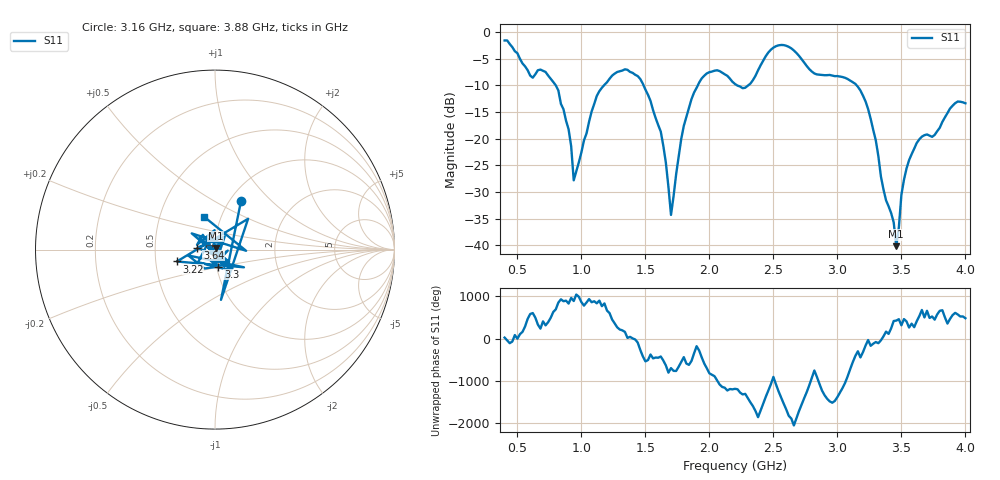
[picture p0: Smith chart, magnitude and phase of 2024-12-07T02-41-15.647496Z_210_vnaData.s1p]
!Created with skrf (http://scikit-rf.org).
# Hz S RI R 50.0
!freq ReS11 ImS11
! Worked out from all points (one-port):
!   181 points, 400 MHz to 4 GHz, reference 50 ohm
!   lowest |S11| = -40.2 dB at 3.46 GHz (marker M1), VSWR 1.02, Z = 50.4 + j0.913 ohm
!   |S11| at or under -10 dB: 798.9 MHz to 1.178 GHz (378.6 MHz wide, 38.3 % of centre); 1.485 GHz to 1.91 GHz (424.7 MHz wide, 25 % of centre); 3.149 GHz to end of sweep (the widest 3 of 4)
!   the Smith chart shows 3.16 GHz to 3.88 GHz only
!   S11 on the Smith chart (normalised r, x): 3.16 GHz: 1.13, +0.67; 3.22 GHz: 0.64, -0.09; 3.3 GHz: 1.02, -0.19; 3.64 GHz: 0.82, +0.02; 3.88 GHz: 0.83, +0.31
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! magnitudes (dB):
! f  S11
! 400 MHz  -1.6
! 620 MHz  -8.6
! 720 MHz  -7.5
! 860 MHz  -14.5
! 920 MHz  -21.4
! 940 MHz  -27.8
! 1.12 GHz  -12.0
! 1.3 GHz  -7.4
! 1.54 GHz  -12.9
! 1.62 GHz  -18.7
! 1.7 GHz  -34.3
! 1.76 GHz  -23.3
! 1.86 GHz  -12.6
! 1.94 GHz  -8.7
! 2.2 GHz  -9.8
! 2.32 GHz  -9.7
! 2.52 GHz  -2.7
! 2.66 GHz  -3.5
! 3.1 GHz  -9.1
! 3.16 GHz  -10.3
! 3.22 GHz  -13.0
! 3.3 GHz  -20.3
! 3.46 GHz  -40.2
! 3.5 GHz  -30.6
! 3.56 GHz  -24.0
! 3.64 GHz  -20.2
! 3.88 GHz  -14.4
! 4 GHz  -13.4
